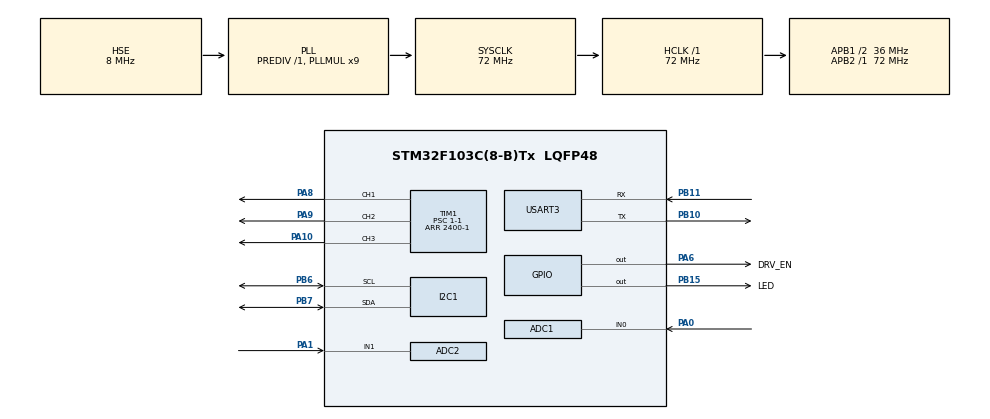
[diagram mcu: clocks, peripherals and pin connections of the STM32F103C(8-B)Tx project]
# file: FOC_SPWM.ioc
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ADC1.Channel-2\#ChannelInjectedConversion=ADC_CHANNEL_0
ADC1.ContinuousConvMode=ENABLE
ADC1.EnableInjectedConversion=ENABLE
ADC1.EnableRegularConversion=DISABLE
ADC1.ExternalTrigInjecConv=ADC_EXTERNALTRIGINJECCONV_T1_TRGO
ADC1.InjNumberOfConversion=1
ADC1.InjectedOffset-2\#ChannelInjectedConversion=0
ADC1.InjectedRank-2\#ChannelInjectedConversion=1
ADC1.Mode=ADC_DUALMODE_INJECSIMULT
ADC1.SamplingTime-2\#ChannelInjectedConversion=ADC_SAMPLETIME_7CYCLES_5
ADC1.master=1
ADC2.Channel-1\#ChannelInjectedConversion=ADC_CHANNEL_1
ADC2.ContinuousConvMode=ENABLE
ADC2.EnableInjectedConversion=ENABLE
ADC2.EnableRegularConversion=DISABLE
ADC2.InjNumberOfConversion=1
ADC2.InjectedOffset-1\#ChannelInjectedConversion=0
ADC2.InjectedRank-1\#ChannelInjectedConversion=1
ADC2.Mode=ADC_DUALMODE_INJECSIMULT
ADC2.SamplingTime-1\#ChannelInjectedConversion=ADC_SAMPLETIME_7CYCLES_5
Dma.Request0=USART3_TX
Dma.Request1=USART3_RX
Dma.USART3_RX.1.Direction=DMA_PERIPH_TO_MEMORY
Dma.USART3_RX.1.Instance=DMA1_Channel3
Dma.USART3_RX.1.MemDataAlignment=DMA_MDATAALIGN_BYTE
Dma.USART3_RX.1.MemInc=DMA_MINC_ENABLE
Dma.USART3_RX.1.Mode=DMA_NORMAL
Dma.USART3_RX.1.PeriphDataAlignment=DMA_PDATAALIGN_BYTE
Dma.USART3_RX.1.PeriphInc=DMA_PINC_DISABLE
Dma.USART3_RX.1.Priority=DMA_PRIORITY_LOW
Dma.USART3_TX.0.Direction=DMA_MEMORY_TO_PERIPH
Dma.USART3_TX.0.Instance=DMA1_Channel2
Dma.USART3_TX.0.MemDataAlignment=DMA_MDATAALIGN_BYTE
Dma.USART3_TX.0.MemInc=DMA_MINC_ENABLE
Dma.USART3_TX.0.Mode=DMA_NORMAL
Dma.USART3_TX.0.PeriphDataAlignment=DMA_PDATAALIGN_BYTE
Dma.USART3_TX.0.PeriphInc=DMA_PINC_DISABLE
Dma.USART3_TX.0.Priority=DMA_PRIORITY_LOW
I2C1.I2C_Mode=I2C_Fast
Mcu.Family=STM32F1
Mcu.Name=STM32F103C(8-B)Tx
Mcu.Package=LQFP48
NVIC.ADC1_2_IRQn=true\:1\:0\:true\:false\:true\:true\:true\:true
NVIC.DMA1_Channel2_IRQn=true\:0\:0\:false\:false\:true\:false\:true\:true
NVIC.DMA1_Channel3_IRQn=true\:0\:0\:false\:false\:true\:false\:true\:true
NVIC.PriorityGroup=NVIC_PRIORITYGROUP_4
NVIC.TIM2_IRQn=true\:1\:0\:true\:false\:true\:true\:true\:true
NVIC.USART3_IRQn=true\:2\:0\:true\:false\:true\:true\:true\:true
PA0-WKUP.Signal=ADCx_IN0
PA1.Signal=ADCx_IN1
PA10.Signal=S_TIM1_CH3
PA13.Mode=Serial_Wire
PA13.Signal=SYS_JTMS-SWDIO
PA14.Mode=Serial_Wire
PA14.Signal=SYS_JTCK-SWCLK
PA6.GPIO_Label=DRV_EN
PA6.PinState=GPIO_PIN_SET
PA6.Signal=GPIO_Output
PA8.Signal=S_TIM1_CH1
PA9.Signal=S_TIM1_CH2
PB10.Mode=Asynchronous
PB10.Signal=USART3_TX
PB11.GPIO_PuPd=GPIO_NOPULL
PB11.Mode=Asynchronous
PB11.Signal=USART3_RX
PB15.GPIO_Label=LED
PB15.GPIO_ModeDefaultOutputPP=GPIO_MODE_OUTPUT_PP
PB15.GPIO_PuPd=GPIO_NOPULL
PB15.GPIO_Speed=GPIO_SPEED_FREQ_LOW
PB15.PinState=GPIO_PIN_SET
PB15.Signal=GPIO_Output
PB6.Mode=I2C
PB6.Signal=I2C1_SCL
PB7.Mode=I2C
PB7.Signal=I2C1_SDA
PD0-OSC_IN.Mode=HSE-External-Oscillator
PD0-OSC_IN.Signal=RCC_OSC_IN
PD1-OSC_OUT.Mode=HSE-External-Oscillator
PD1-OSC_OUT.Signal=RCC_OSC_OUT
ProjectManager.HeapSize=0x200
ProjectManager.StackSize=0x400
ProjectManager.TargetToolchain=MDK-ARM V5.32
RCC.ADCPresc=RCC_ADCPCLK2_DIV6
RCC.AHBFreq_Value=72000000
RCC.APB1CLKDivider=RCC_HCLK_DIV2
RCC.APB1Freq_Value=36000000
RCC.APB1TimFreq_Value=72000000
RCC.APB2Freq_Value=72000000
RCC.APB2TimFreq_Value=72000000
RCC.HCLKFreq_Value=72000000
RCC.PLLMUL=RCC_PLL_MUL9
RCC.PLLSourceVirtual=RCC_PLLSOURCE_HSE
RCC.SYSCLKFreq_VALUE=72000000
RCC.SYSCLKSource=RCC_SYSCLKSOURCE_PLLCLK
RCC.USBFreq_Value=72000000
SH.ADCx_IN0.0=ADC1_IN0,IN0
SH.ADCx_IN1.0=ADC2_IN1,IN1
SH.S_TIM1_CH1.0=TIM1_CH1,PWM Generation1 CH1
SH.S_TIM1_CH2.0=TIM1_CH2,PWM Generation2 CH2
SH.S_TIM1_CH3.0=TIM1_CH3,PWM Generation3 CH3
TIM1.AutoReloadPreload=TIM_AUTORELOAD_PRELOAD_ENABLE
TIM1.BreakPolarity=TIM_BREAKPOLARITY_HIGH
TIM1.Channel-PWM\ Generation1\ CH1=TIM_CHANNEL_1
TIM1.Channel-PWM\ Generation2\ CH2=TIM_CHANNEL_2
TIM1.Channel-PWM\ Generation3\ CH3=TIM_CHANNEL_3
TIM1.CounterMode=TIM_COUNTERMODE_CENTERALIGNED3
TIM1.LockLevel=TIM_LOCKLEVEL_OFF
TIM1.OCFastMode_PWM-PWM\ Generation1\ CH1=TIM_OCFAST_DISABLE
TIM1.OCFastMode_PWM-PWM\ Generation2\ CH2=TIM_OCFAST_DISABLE
TIM1.OCFastMode_PWM-PWM\ Generation3\ CH3=TIM_OCFAST_DISABLE
TIM1.Period=2400-1
TIM1.Prescaler=1-1
TIM1.RepetitionCounter=1
TIM1.TIM_MasterOutputTrigger=TIM_TRGO_UPDATE
TIM1.TIM_MasterSlaveMode=TIM_MASTERSLAVEMODE_DISABLE
TIM2.AutoReloadPreload=TIM_AUTORELOAD_PRELOAD_ENABLE
TIM2.Period=1000-1
TIM2.Prescaler=72-1
USART3.VirtualMode=VM_ASYNC
VP_TIM1_VS_ClockSourceINT.Mode=Internal
VP_TIM2_VS_ClockSourceINT.Mode=Internal
board=custom

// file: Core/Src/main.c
/* USER CODE BEGIN Header */
/**
  ******************************************************************************
  * @file           : main.c
  * @brief          : Main program body
  ******************************************************************************
  * @attention
  *
  * Copyright (c) 2025 STMicroelectronics.
  * All rights reserved.
  *
  * This software is licensed under terms that can be found in the LICENSE file
  * in the root directory of this software component.
  * If no LICENSE file comes with this software, it is provided AS-IS.
  *
  ******************************************************************************
  */
/* USER CODE END Header */
#include "main.h"
#include "adc.h"
#include "dma.h"
#include "i2c.h"
#include "tim.h"
#include "usart.h"
#include "gpio.h"

/* USER CODE BEGIN Includes */
#include "as5600.h"
#include "FOC.h"
#include <stdlib.h>  // for atof
#include <string.h>
#include "LowPassFilter.h"
#include "pid.h"
#include "InlineCurrent.h"
/* USER CODE END Includes */

void SystemClock_Config(void);

/* USER CODE BEGIN 0 */

int fputc(int ch, FILE *f)
{
	HAL_UART_Transmit(&huart3, (uint8_t *)&ch, 1, 1000);
	return (ch);
}

void VOFA_JustFloat_Send(float data_1, float data_2,float data_3)
{

    static uint8_t send_buffer[sizeof(float) * 3 + 4];

    float temp_data[3] = {data_1, data_2, data_3};
    memcpy(send_buffer, temp_data, sizeof(float) * 3);

    uint8_t tail[4] = {0x00, 0x00, 0x80, 0x7f};
    memcpy(send_buffer + sizeof(float) * 3, tail, 4);

    if (huart3.gState == HAL_UART_STATE_READY)
    {
        HAL_UART_Transmit_DMA(&huart3, send_buffer, sizeof(send_buffer));
    }
}

float ctrl_target = 0.0f;
#define RX_BUFFER_SIZE 128
uint8_t rx_buffer[RX_BUFFER_SIZE];

/**
 * @brief 定时器周期回调函数
 * @note  每1ms自动调用一次，在这里执行FOC控制
 */
void HAL_TIM_PeriodElapsedCallback(TIM_HandleTypeDef *htim)
{
    if(htim == &htim2)
    {
        // FOC 控制核心代码
        AS5600_Update(&AngleSensor);        // 更新角度传感器
        switch (ctrl_mode)
        {
            case FOC_MODE_CURRENT:
                set_Foc_current(ctrl_target);
                break;

            case FOC_MODE_VELOCITY:
                set_Foc_speed(ctrl_target);
                break;

            case FOC_MODE_ANGLE:
                set_Foc_angle(ctrl_target);
                break;

            case FOC_MODE_IDLE:
            default:
                setTorque(0, 0, _electricalAngle()); // 零力矩/空闲
                break;
				}

    }
}
		// 解析指令
    // 格式: "vel_3.5" --速度模式, 3.5 rad/s
    // 格式: "ang_1.57" --角度模式, 1.57 rad
    // 格式: "cur_0.5" --电流模式, 0.5 A
    // 格式: "stop" --停
void Process_Serial_Command(uint8_t *buf, uint16_t len)
{
    // 确保字符串结束符，防止越界
    if (len >= RX_BUFFER_SIZE) len = RX_BUFFER_SIZE - 1;
    buf[len] = '\0';

    char *cmd_ptr = (char *)buf;
    float val = 0.0f;

    if (strncmp(cmd_ptr, "vel_", 4) == 0) {
        val = atof(cmd_ptr + 4);
        ctrl_mode = FOC_MODE_VELOCITY;
        ctrl_target = val;
      //printf("Mode: Velocity,Target: %.2f\r\n", val);
    }
    else if (strncmp(cmd_ptr, "ang_", 4) == 0) {
        val = atof(cmd_ptr + 4);
        ctrl_mode = FOC_MODE_ANGLE;
        ctrl_target = val;
			//printf("Mode: Angle,Target: %.2f\r\n", val);
    }
    else if (strncmp(cmd_ptr, "cur_", 4) == 0) {
        val = atof(cmd_ptr + 4);
        ctrl_mode = FOC_MODE_CURRENT;
        ctrl_target = val;
      //printf("Mode: Current,Target: %.2f\r\n", val);
    }
    else if (strncmp(cmd_ptr, "stop", 4) == 0) {
        ctrl_mode = FOC_MODE_IDLE;
        ctrl_target = 0.0f;
        setTorque(0, 0, _electricalAngle());
       // printf("Mode: Stopped\r\n");
    }
}

/**
  * @brief 扩展接收事件回调函数
  * @param huart 串口句柄
  * @param Size  接收到的数据字节数
  */
void HAL_UARTEx_RxEventCallback(UART_HandleTypeDef *huart, uint16_t Size)
{
    if (huart->Instance == USART3)
    {
        // 1. 处理接收到的数据
        Process_Serial_Command(rx_buffer, Size);

        // 2. 重新启动接收
        HAL_UARTEx_ReceiveToIdle_DMA(&huart3, rx_buffer, RX_BUFFER_SIZE);
				__HAL_DMA_DISABLE_IT(&hdma_usart3_rx,DMA_IT_HT);
    }
}

/* 修改ADC注入转换完成回调函数 */
void HAL_ADCEx_InjectedConvCpltCallback(ADC_HandleTypeDef *hadc)
{

    if (hadc->Instance == ADC1)
    {
        // 读取ADC原始值并转换为电压
        uint32_t adc1_raw = HAL_ADCEx_InjectedGetValue(&hadc1, ADC_INJECTED_RANK_1);
        uint32_t adc2_raw = HAL_ADCEx_InjectedGetValue(&hadc2, ADC_INJECTED_RANK_1);

        float u_a = InlineCurrent_ADCToVoltage(adc1_raw);
        float u_b = InlineCurrent_ADCToVoltage(adc2_raw);

        InlineCurrent_GetPhaseCurrents(&CurrentSensor, u_a, u_b);
    }
}

/* USER CODE END 0 */

int main(void)
{

  /* MCU Configuration--------------------------------------------------------*/

  /* Reset of all peripherals, Initializes the Flash interface and the Systick. */
  HAL_Init();

  /* Configure the system clock */
  SystemClock_Config();

  /* Initialize all configured peripherals */
  MX_GPIO_Init();
  MX_DMA_Init();
  MX_I2C1_Init();
  MX_USART3_UART_Init();
  MX_TIM1_Init();
  MX_TIM2_Init();
  MX_ADC1_Init();
  MX_ADC2_Init();
  /* USER CODE BEGIN 2 */
	HAL_TIM_Base_Start(&htim1);
	HAL_ADCEx_Calibration_Start(&hadc1);
  HAL_ADCEx_Calibration_Start(&hadc2);
  HAL_ADCEx_InjectedStart_IT(&hadc1);
  HAL_ADCEx_InjectedStart(&hadc2);

	//启动串口DMA空闲接收
	HAL_UARTEx_ReceiveToIdle_DMA(&huart3, rx_buffer, RX_BUFFER_SIZE);
	__HAL_DMA_DISABLE_IT(&hdma_usart3_rx,DMA_IT_HT);

	//初始化电流传感器
  InlineCurrent_Init(&CurrentSensor, 0.02f, 50.0f);

  //校准电流传感器
  printf("Start calibrating the current sensor...\r\n");
  InlineCurrent_CalibrateOffsets(&CurrentSensor);
  printf("Calibration complete: OffsetA=%.3fV, OffsetB=%.3fV\r\n",
         CurrentSensor.offset_a, CurrentSensor.offset_b);
	HAL_Delay(500);

	//初始化FOC
	FOC_Init_Simple(12.0f,7,1);

  /* USER CODE END 2 */

  while (1)
  {

    /* USER CODE BEGIN 3 */
			static uint32_t last_print_time = 0;

      if (HAL_GetTick() - last_print_time >= 10)
      {
          float actual_val = 0.0f;
					switch (ctrl_mode)
          {
              case FOC_MODE_VELOCITY:
                  // 获取当前速度 (rad/s)
                  actual_val = AS5600_GetVelocity(&AngleSensor) * DIR;
                  break;

              case FOC_MODE_ANGLE:
                  // 获取当前累计角度 (rad)
                  actual_val = AS5600_GetAccumulateAngle(&AngleSensor) * DIR;
                  break;

              case FOC_MODE_CURRENT:
                  // 获取当前 Q 轴电流 (Iq)
                  actual_val = I_q;
                  break;

              default:
                  actual_val = 0.0f;
                  break;
          }
				  if (ctrl_mode != FOC_MODE_IDLE)
          {
              printf("%.3f,%.3f\r\n", ctrl_target, actual_val);
          }

          last_print_time = HAL_GetTick();
			}

//    // 每10ms发送一次数据到VOFA+（100Hz刷新率）
//    static uint32_t last_vofa_send = 0;
//    if(HAL_GetTick() - last_vofa_send >= 10)
//			{
//        VOFA_JustFloat_Send(Ua, Ub, Uc);
//        last_vofa_send = HAL_GetTick();
//			}

//		   // 在主循环中定期打印电流值
//        static uint32_t last_print = 0;
//        if(HAL_GetTick() - last_print >= 50) {  // 每50ms打印一次
//            printf("Ia=%.3fA, Ib=%.3fA, Ic=%.3fA\r\n",
//                   CurrentSensor.current_a,
//                   CurrentSensor.current_b,
//                   CurrentSensor.current_c);
//            last_print = HAL_GetTick();
//        }

  }

  /* USER CODE END 3 */
}

void SystemClock_Config(void)
{
  RCC_OscInitTypeDef RCC_OscInitStruct = {0};
  RCC_ClkInitTypeDef RCC_ClkInitStruct = {0};
  RCC_PeriphCLKInitTypeDef PeriphClkInit = {0};

  /** Initializes the RCC Oscillators according to the specified parameters
  * in the RCC_OscInitTypeDef structure.
  */
  RCC_OscInitStruct.OscillatorType = RCC_OSCILLATORTYPE_HSE;
  RCC_OscInitStruct.HSEState = RCC_HSE_ON;
  RCC_OscInitStruct.HSEPredivValue = RCC_HSE_PREDIV_DIV1;
  RCC_OscInitStruct.HSIState = RCC_HSI_ON;
  RCC_OscInitStruct.PLL.PLLState = RCC_PLL_ON;
  RCC_OscInitStruct.PLL.PLLSource = RCC_PLLSOURCE_HSE;
  RCC_OscInitStruct.PLL.PLLMUL = RCC_PLL_MUL9;
  if (HAL_RCC_OscConfig(&RCC_OscInitStruct) != HAL_OK)
  {
    Error_Handler();
  }

  /** Initializes the CPU, AHB and APB buses clocks
  */
  RCC_ClkInitStruct.ClockType = RCC_CLOCKTYPE_HCLK|RCC_CLOCKTYPE_SYSCLK
                              |RCC_CLOCKTYPE_PCLK1|RCC_CLOCKTYPE_PCLK2;
  RCC_ClkInitStruct.SYSCLKSource = RCC_SYSCLKSOURCE_PLLCLK;
  RCC_ClkInitStruct.AHBCLKDivider = RCC_SYSCLK_DIV1;
  RCC_ClkInitStruct.APB1CLKDivider = RCC_HCLK_DIV2;
  RCC_ClkInitStruct.APB2CLKDivider = RCC_HCLK_DIV1;

  if (HAL_RCC_ClockConfig(&RCC_ClkInitStruct, FLASH_LATENCY_2) != HAL_OK)
  {
    Error_Handler();
  }
  PeriphClkInit.PeriphClockSelection = RCC_PERIPHCLK_ADC;
  PeriphClkInit.AdcClockSelection = RCC_ADCPCLK2_DIV6;
  if (HAL_RCCEx_PeriphCLKConfig(&PeriphClkInit) != HAL_OK)
  {
    Error_Handler();
  }
}

void Error_Handler(void)
{
  __disable_irq();
  while (1)
  {
  }
}
